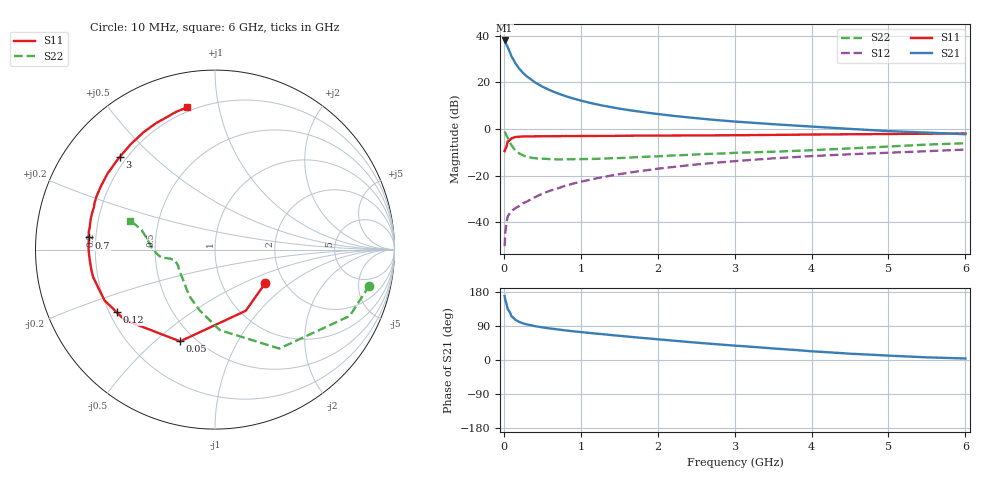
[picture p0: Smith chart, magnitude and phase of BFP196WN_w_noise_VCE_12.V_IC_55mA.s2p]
! Infineon Technologies  Discrete & RF Semiconductors
! BFP196WN
! VCE =  12. V,  IC =  55 mA
! Common Emitter S-Parameters:  Jan 2017
# GHz  S  MA  R  50
!  f  S11  S21  S12  S22
! GHz  MAG  ANG  MAG  ANG  MAG  ANG  MAG  ANG
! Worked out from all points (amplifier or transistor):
!   77 points, 10 MHz to 6 GHz, reference 50 ohm
!   highest |S21| = 38.0 dB at 10 MHz (marker M1)
!   |S21| within 3 dB of that: start of sweep to 51.92 MHz
!   unconditionally stable (mu >= 1): 651 MHz to 2.688 GHz
!   at 130 MHz: K = 0.53, MSG = 31.9 dB, |S12| = -34.4 dB
!   at 2.2 GHz: K = 1.02, MAG = 10.1 dB, |S12| = -16.2 dB
!   at 6 GHz: K = 0.89, MSG = 3.3 dB, |S12| = -8.8 dB
!   lowest NFmin = 1.34 dB at 450 MHz
!   S11 on the Smith chart (normalised r, x): 10 MHz: 1.60, -0.68; 50 MHz: 0.42, -0.61; 120 MHz: 0.23, -0.28; 700 MHz: 0.17, +0.05; 3 GHz: 0.17, +0.40; 6 GHz: 0.18, +0.81
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0.01  0.3368 -33.7  79.5 168.8  0.0031 68.6  0.8829 -13.1
0.02  0.3814 -63.3  73.29 157.8  0.0063 69.2  0.8367 -26.2
0.05  0.5468 -110.8  57.19 134.4  0.0134 54.3  0.6574 -57.0
0.1  0.638 -142.0  36.11 115.2  0.0175 47.6  0.4498 -86.5
0.12  0.6496 -147.5  31.88 112.2  0.0186 47.4  0.4052 -92.5
0.15  0.6776 -155.3  25.76 106.0  0.0202 47.2  0.3492 -104.2
0.2  0.6857 -162.8  19.73 100.5  0.0224 50.4  0.302 -116.6
0.25  0.6964 -167.5  15.98 96.7  0.0259 52.6  0.2742 -124.8
0.3  0.6982 -171.2  13.41 93.8  0.028 55.9  0.254 -132.0
0.4  0.701 -176.2  10.16 89.4  0.0344 60.3  0.2382 -141.1
0.5  0.7045 180.0  8.148 86.1  0.0411 62.8  0.2323 -147.7
0.6  0.7045 177.1  6.806 83.2  0.0479 64.2  0.228 -152.5
0.7  0.7057 174.5  5.833 80.7  0.0536 66.2  0.2243 -155.7
0.9  0.709 169.7  4.536 75.8  0.0679 67.1  0.2266 -159.8
1.1  0.713 165.9  3.724 71.7  0.081 67.5  0.229 -163.0
1.5  0.7195 159.0  2.752 63.9  0.1081 66.5  0.2403 -166.9
2.1  0.728 149.3  2.018 52.9  0.1479 63.5  0.2671 -169.5
3  0.7404 135.8  1.454 37.9  0.2054 57.1  0.3104 -173.1
3.1  0.7418 134.3  1.417 36.6  0.2115 56.3  0.3138 -173.8
4.1  0.7674 120.0  1.109 21.8  0.2691 48.1  0.3592 176.3
5.1  0.7876 109.1  0.894 10.6  0.3166 40.7  0.4316 164.5
6  0.8079 101.1  0.777 4.0  0.3648 34.8  0.4978 161.5
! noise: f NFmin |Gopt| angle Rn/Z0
0.45  1.34  0.54  -177  0.05
0.9  1.44  0.57  -170  0.06
1.9  2.36  0.69  -147  0.17
2.4  3.11  0.7  -140  0.29
